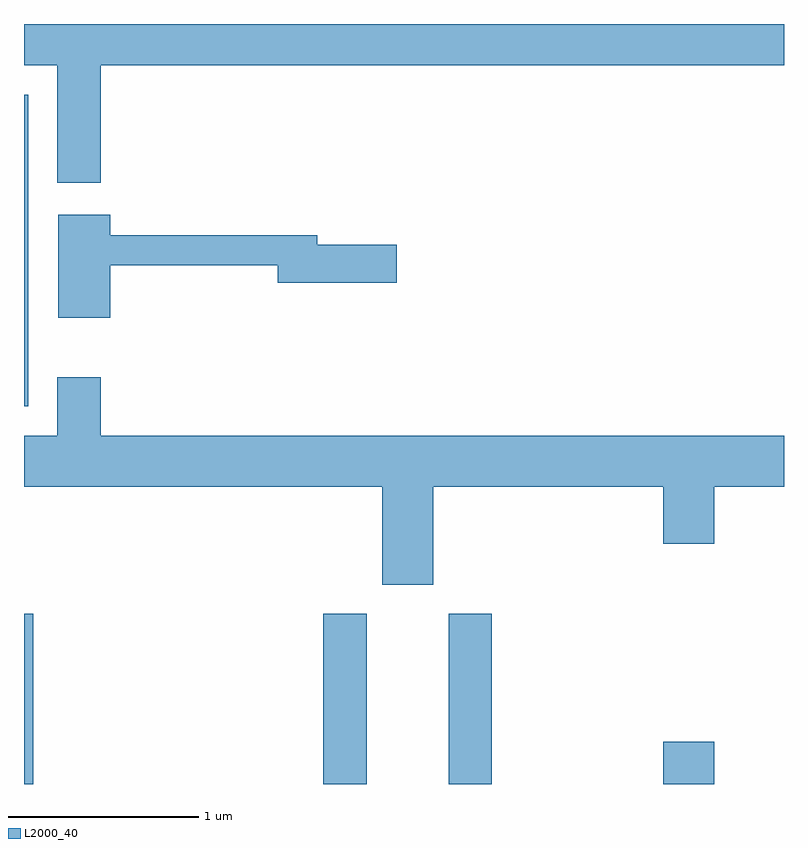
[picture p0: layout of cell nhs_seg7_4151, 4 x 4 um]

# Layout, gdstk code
import gdstk
lib = gdstk.Library(unit=1e-6, precision=1e-09)
def R(c, l, rs):  # rectangles x0, y0, x1, y1
    for r in rs: c.add(gdstk.rectangle(r[:2], r[2:], *l))
def P(c, l, *ps):  # polygons
    for p in ps: c.add(gdstk.Polygon(p, *l))
L2000_40 = (2000, 40)

nhs_seg7_4151 = lib.new_cell('nhs_seg7_4151')
R(nhs_seg7_4151, L2000_40, [(311.611,1768.252,311.659,1769.149), (313.186,1768.252,313.414,1769.149), (313.846,1768.252,314.074,1769.149), (314.976,1768.252,315.244,1768.474), (311.611,1770.241,311.634,1771.879)])
P(nhs_seg7_4151, L2000_40, [(312.014,1772.036),(315.611,1772.036),(315.611,1772.252),(311.611,1772.252),(311.611,1772.036),(311.786,1772.036),(311.786,1771.416),(312.014,1771.416)],
  [(312.064,1770.981),(312.946,1770.981),(312.946,1770.891),(313.574,1770.891),(313.574,1771.089),(313.154,1771.089),(313.154,1771.139),(312.064,1771.139),(312.064,1771.249),(311.791,1771.249),(311.791,1770.706),(312.064,1770.706)],
  [(313.764,1769.816),(314.976,1769.816),(314.976,1769.516),(315.244,1769.516),(315.244,1769.816),(315.611,1769.816),(315.611,1770.084),(312.014,1770.084),(312.014,1770.394),(311.786,1770.394),(311.786,1770.084),(311.611,1770.084),(311.611,1769.816),(313.496,1769.816),(313.496,1769.301),(313.764,1769.301)])

lib.write_gds('nhs_seg7_4151.gds')
